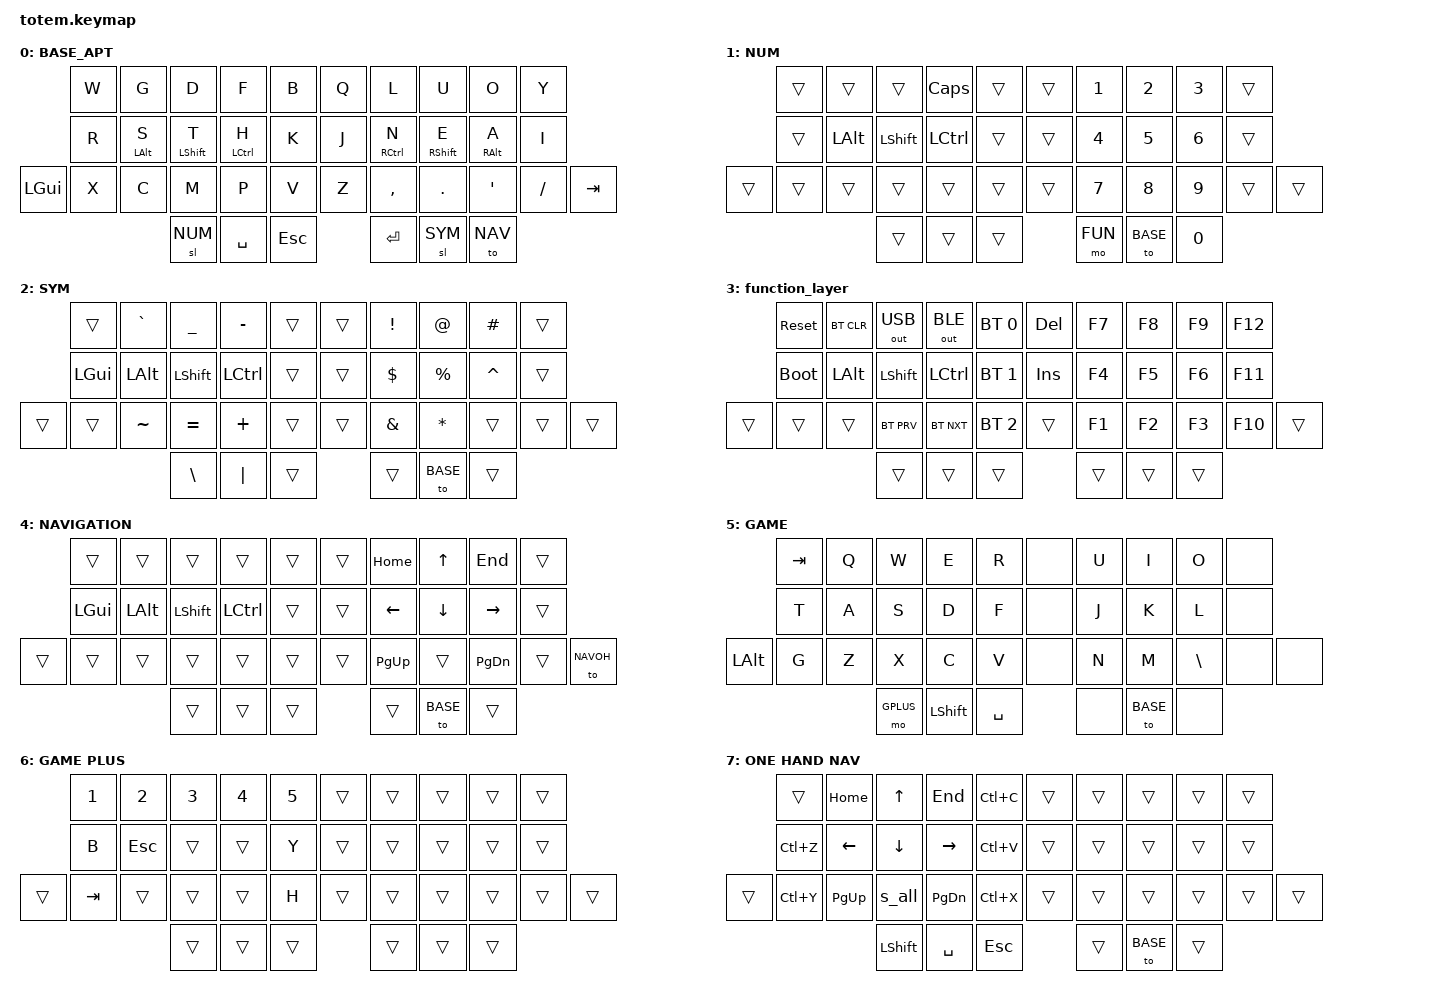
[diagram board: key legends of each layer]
//
//                                                        ▀▀▀▀▀     ▀▀▀▀▀          ▀▀█▀▀
//                                                        ▄▀▀▀▄  ▄  ▄▀▀▀▄  ▄  ▄▀▀▀▄  █  ▄▀▀▀▄
//                                                        █   █  █  █   █  █  █   █  █  █   █
//                                                         ▀▀▀   █   ▀▀▀   █   ▀▀▀   ▀   ▀▀▀
//                                                               █      ▄▄▄█▄▄▄    █   █  
//                                                               ▀      █  █  █     █▄█
//                                                             ▀▀▀▀▀    █  █  █      ▀
//                                                                      ▀  ▀  ▀
//
// ▄▄▄▄▄▄▄▄▄▄▄▄▄▄▄▄▄▄▄▄▄▄▄▄▄▄▄▄▄▄▄▄▄▄▄▄▄▄▄▄▄▄▄▄▄▄▄▄▄▄▄▄▄▄▄▄▄▄▄▄▄▄▄▄▄▄▄▄▄▄▄▄▄▄▄▄▄▄▄▄▄▄▄▄▄▄▄▄▄▄▄▄▄▄▄▄▄▄▄▄▄▄▄▄▄▄▄▄▄▄▄▄▄▄▄▄▄▄▄▄▄▄▄▄▄▄▄▄▄▄▄▄▄▄▄▄▄▄▄▄▄▄▄▄▄▄▄▄▄
       

#include <behaviors.dtsi>
#include <dt-bindings/zmk/keys.h>
#include <dt-bindings/zmk/bt.h>
#include <dt-bindings/zmk/outputs.h>

#define BASE 0
#define NUM  1
#define SYM  2
#define FUN  3
#define NAV 4
#define GAME 5
#define GPLUS 6
#define NAVOH 7

&mt {
  quick-tap-ms = <90>;
  global-quick-tap;
  flavor = "tap-preferred";
  tapping-term-ms = <170>;
};

/ {
     combos {
            compatible = "zmk,combos";
            combo_bspc {
                timeout-ms = <30>;
                key-positions = <27 28>;
                bindings = <&kp BSPC>;
            };
            combo_lbkt {
                timeout-ms = <30>;
                key-positions = <6 7>;
                layers = <0>;
                bindings = <&kp LBKT>;
            };
            combo_rbkt {
                timeout-ms = <30>;
                key-positions = <6 7>;
                layers = <2>;
                bindings = <&kp RBKT>;
            };
            combo_lpar {
                timeout-ms = <30>;
                key-positions = <2 3>;
                layers = <0>;
                bindings = <&kp LPAR>;
            };
            combo_rpar {
                timeout-ms = <30>;
                key-positions = <2 3>;
                layers = <2>;
                bindings = <&kp RPAR>;
            };
            combo_lbrc {
                timeout-ms = <30>;
                key-positions = <23 24>;
                layers = <0>;
                bindings = <&kp LBRC>;
            };
            combo_rbrc {
                timeout-ms = <30>;
                key-positions = <23 24>;
                layers = <2>;
                bindings = <&kp RBRC>;
            };
            combo_colon {
                timeout-ms = <30>;
                key-positions = <15 16>;
                layers = <0>;
                bindings = <&kp COLON>;
            };
            combo_semi {
                timeout-ms = <30>;
                key-positions = <13 14>;
                layers = <0>;
                bindings = <&kp SEMI>;
            };
            combo_game {
                timeout-ms = <30>;
                key-positions = <0 1 2 3>;
                layers = <0>;
                bindings = <&to GAME>;
            };
            combo_base {
                timeout-ms = <30>;
                key-positions = <0 1 2 3>;
                layers = <1 2 3 4 5 6 7>;
                bindings = <&to BASE>;
            };
    };

    macros {
        s_all: s_all {
            label = "select_all";
            compatible = "zmk,behavior-macro";
            #binding-cells = <0>;
            bindings
                = <&macro_tap &kp HOME>
                , <&macro_press &kp LSHFT>
                , <&macro_tap &kp END>
                , <&macro_release &kp LSHFT>
                ;
        };
    };

        keymap {
                compatible = "zmk,keymap";
// ▄▄▄▄▄▄▄▄▄▄▄▄▄▄▄▄▄▄▄▄▄▄▄▄▄▄▄▄▄▄▄▄▄▄▄▄▄▄▄▄▄▄▄▄▄▄▄▄▄▄▄▄▄▄▄▄▄▄▄▄▄▄▄▄▄▄▄▄▄▄▄▄▄▄▄▄▄▄▄▄▄▄▄▄▄▄▄▄▄▄▄▄▄▄▄▄▄▄▄▄▄▄▄▄▄▄▄▄▄▄▄▄▄▄▄▄▄▄▄▄▄▄▄▄▄▄▄▄▄▄▄▄▄▄▄▄▄▄▄▄▄▄▄▄▄▄▄▄▄

                base_layer {
// ┏━━━━━━━━━━━━━━━━━━━━━━━━━━━━━━━━━━━━━━━┓
label= "BASE_APT"                          ;
// ┗━━━━━━━━━━━━━━━━━━━━━━━━━━━━━━━━━━━━━━━┛
//             ┏━━━━━━━━━━━┳━━━━━━━━━━━┳━━━━━━━━━━━┳━━━━━━━━━━━┳━━━━━━━━━━━┓   ┏━━━━━━━━━━━┳━━━━━━━━━━━┳━━━━━━━━━━━┳━━━━━━━━━━━┳━━━━━━━━━━━┓
//             ┃     Q     ┃     W     ┃     F     ┃     P     ┃     G     ┃   ┃     J     ┃     L     ┃     U     ┃     Y     ┃     ;     ┃
//             ┣━━━━━━━━━━━╋━━━━━━━━━━━╋━━━━━━━━━━━╋━━━━━━━━━━━╋━━━━━━━━━━━┫   ┣━━━━━━━━━━━╋━━━━━━━━━━━╋━━━━━━━━━━━╋━━━━━━━━━━━╋━━━━━━━━━━━┫
//             ┃     A     ┃     R     ┃     S     ┃     T     ┃     D     ┃   ┃     H     ┃     N     ┃     E     ┃     I     ┃     O     ┃
// ┏━━━━━━━━━━━╋━━━━━━━━━━━╋━━━━━━━━━━━╋━━━━━━━━━━━╋━━━━━━━━━━━╋━━━━━━━━━━━┫   ┣━━━━━━━━━━━╋━━━━━━━━━━━╋━━━━━━━━━━━╋━━━━━━━━━━━╋━━━━━━━━━━━╋━━━━━━━━━━━┓
// ┃     Q     ┃     Z     ┃     X     ┃     C     ┃     V     ┃     B     ┃   ┃     K     ┃     M     ┃     ,     ┃     .     ┃     /     ┃     \     ┃
// ┗━━━━━━━━━━━┻━━━━━━━━━━━┻━━━━━━━━━━━╋━━━━━━━━━━━╋━━━━━━━━━━━╋━━━━━━━━━━━┫   ┣━━━━━━━━━━━╋━━━━━━━━━━━╋━━━━━━━━━━━╋━━━━━━━━━━━┻━━━━━━━━━━━┻━━━━━━━━━━━┛
//                                     ┃    DEL    ┃    TAB    ┃    SPC    ┃   ┃   ENTER   ┃           ┃   BSPC    ┃
//                                     ┗━━━━━━━━━━━┻━━━━━━━━━━━┻━━━━━━━━━━━┛   ┗━━━━━━━━━━━┻━━━━━━━━━━━┻━━━━━━━━━━━┛
 bindings = <
// ╷           ╷           ╷           ╷           ╷           ╷           ╷   ╷           ╷           ╷           ╷           ╷           ╷           ╷

                &kp W       &kp G       &kp D       &kp F       &kp B           &kp Q     &kp L         &kp U       &kp O       &kp Y
                &kp R       &mt LALT S  &mt LSHFT T &mt LCTRL H &kp K           &kp J     &mt RCTRL N   &mt RSHFT E &mt RALT A  &kp I
    &kp LGUI    &kp X       &kp C       &kp M       &kp P       &kp V           &kp Z     &kp COMMA     &kp DOT     &kp SQT     &kp FSLH     &kp TAB
                                        &sl NUM     &kp SPACE   &kp ESC               &kp RET   &sl SYM       &to NAV
                        >;
                };

// ▄▄▄▄▄▄▄▄▄▄▄▄▄▄▄▄▄▄▄▄▄▄▄▄▄▄▄▄▄▄▄▄▄▄▄▄▄▄▄▄▄▄▄▄▄▄▄▄▄▄▄▄▄▄▄▄▄▄▄▄▄▄▄▄▄▄▄▄▄▄▄▄▄▄▄▄▄▄▄▄▄▄▄▄▄▄▄▄▄▄▄▄▄▄▄▄▄▄▄▄▄▄▄▄▄▄▄▄▄▄▄▄▄▄▄▄▄▄▄▄▄▄▄▄▄▄▄▄▄▄▄▄▄▄▄▄▄▄▄▄▄▄▄▄▄▄▄▄▄


                num_layer {
// ┏━━━━━━━━━━━━━━━━━━━━━━━━━━━━━━━━━━━━━━━┓
label= "NUM"                               ;
// ┗━━━━━━━━━━━━━━━━━━━━━━━━━━━━━━━━━━━━━━━┛
//             ┏━━━━━━━━━━━┳━━━━━━━━━━━┳━━━━━━━━━━━┳━━━━━━━━━━━┳━━━━━━━━━━━┓   ┏━━━━━━━━━━━┳━━━━━━━━━━━┳━━━━━━━━━━━┳━━━━━━━━━━━┳━━━━━━━━━━━┓
//             ┃           ┃           ┃     UP    ┃           ┃     {     ┃   ┃     }     ┃     7     ┃     8     ┃     9     ┃     +     ┃
//             ┣━━━━━━━━━━━╋━━━━━━━━━━━╋━━━━━━━━━━━╋━━━━━━━━━━━╋━━━━━━━━━━━┫   ┣━━━━━━━━━━━╋━━━━━━━━━━━╋━━━━━━━━━━━╋━━━━━━━━━━━╋━━━━━━━━━━━┫
//             ┃   SHIFT   ┃   LEFT    ┃    DOWN   ┃   RIGHT   ┃     [     ┃   ┃     ]     ┃     4     ┃     5     ┃     6     ┃     -     ┃
// ┏━━━━━━━━━━━╋━━━━━━━━━━━╋━━━━━━━━━━━╋━━━━━━━━━━━╋━━━━━━━━━━━╋━━━━━━━━━━━┫   ┣━━━━━━━━━━━╋━━━━━━━━━━━╋━━━━━━━━━━━╋━━━━━━━━━━━╋━━━━━━━━━━━╋━━━━━━━━━━━┓
// ┃           ┃           ┃   P UP    ┃  C LOCK   ┃  P DOWN   ┃     (     ┃   ┃     )     ┃     1     ┃     2     ┃     3     ┃     *     ┃           ┃
// ┗━━━━━━━━━━━┻━━━━━━━━━━━┻━━━━━━━━━━━╋━━━━━━━━━━━╋━━━━━━━━━━━╋━━━━━━━━━━━┫   ┣━━━━━━━━━━━╋━━━━━━━━━━━╋━━━━━━━━━━━╋━━━━━━━━━━━┻━━━━━━━━━━━┻━━━━━━━━━━━┛
//                                     ┃           ┃    TAB    ┃    SPC    ┃   ┃    DEL    ┃     0     ┃           ┃
//                                     ┗━━━━━━━━━━━┻━━━━━━━━━━━┻━━━━━━━━━━━┛   ┗━━━━━━━━━━━┻━━━━━━━━━━━┻━━━━━━━━━━━┛
 bindings = <
// ╷           ╷           ╷           ╷           ╷           ╷           ╷   ╷           ╷           ╷           ╷           ╷           ╷           ╷

                &trans      &trans      &trans      &kp CAPS    &trans          &trans     &kp N1      &kp N2      &kp N3   &trans
                &trans      &kp LALT    &kp LSHFT   &kp LCTRL   &trans          &trans     &kp N4      &kp N5      &kp N6   &trans
    &trans      &trans      &trans      &trans      &trans      &trans          &trans     &kp N7      &kp N8      &kp N9   &trans       &trans      
                                        &trans      &trans      &trans          &mo FUN    &to BASE    &kp N0      
                        >;
                };

// ▄▄▄▄▄▄▄▄▄▄▄▄▄▄▄▄▄▄▄▄▄▄▄▄▄▄▄▄▄▄▄▄▄▄▄▄▄▄▄▄▄▄▄▄▄▄▄▄▄▄▄▄▄▄▄▄▄▄▄▄▄▄▄▄▄▄▄▄▄▄▄▄▄▄▄▄▄▄▄▄▄▄▄▄▄▄▄▄▄▄▄▄▄▄▄▄▄▄▄▄▄▄▄▄▄▄▄▄▄▄▄▄▄▄▄▄▄▄▄▄▄▄▄▄▄▄▄▄▄▄▄▄▄▄▄▄▄▄▄▄▄▄▄▄▄▄▄▄▄


                sym_layer {
// ┏━━━━━━━━━━━━━━━━━━━━━━━━━━━━━━━━━━━━━━━┓
label= "SYM"                               ;
// ┗━━━━━━━━━━━━━━━━━━━━━━━━━━━━━━━━━━━━━━━┛
//             ┏━━━━━━━━━━━┳━━━━━━━━━━━┳━━━━━━━━━━━┳━━━━━━━━━━━┳━━━━━━━━━━━┓   ┏━━━━━━━━━━━┳━━━━━━━━━━━┳━━━━━━━━━━━┳━━━━━━━━━━━┳━━━━━━━━━━━┓
//             ┃     !     ┃     @     ┃     #     ┃     $     ┃     %     ┃   ┃     ˆ     ┃     &     ┃     Ü     ┃     '     ┃     "     ┃
//             ┣━━━━━━━━━━━╋━━━━━━━━━━━╋━━━━━━━━━━━╋━━━━━━━━━━━╋━━━━━━━━━━━┫   ┣━━━━━━━━━━━╋━━━━━━━━━━━╋━━━━━━━━━━━╋━━━━━━━━━━━╋━━━━━━━━━━━┫
//             ┃     Ä     ┃           ┃    SZ     ┃           ┃           ┃   ┃   MUTE    ┃   YEN     ┃   EURO    ┃  POUND    ┃     Ö     ┃
// ┏━━━━━━━━━━━╋━━━━━━━━━━━╋━━━━━━━━━━━╋━━━━━━━━━━━╋━━━━━━━━━━━╋━━━━━━━━━━━┫   ┣━━━━━━━━━━━╋━━━━━━━━━━━╋━━━━━━━━━━━╋━━━━━━━━━━━╋━━━━━━━━━━━╋━━━━━━━━━━━┓
// ┃           ┃  EMAIL1   ┃  EMAIL2   ┃           ┃           ┃           ┃   ┃   VOL-    ┃   VOL+    ┃   LAST    ┃   NEXT    ┃     \     ┃           ┃
// ┗━━━━━━━━━━━┻━━━━━━━━━━━┻━━━━━━━━━━━╋━━━━━━━━━━━╋━━━━━━━━━━━╋━━━━━━━━━━━┫   ┣━━━━━━━━━━━╋━━━━━━━━━━━╋━━━━━━━━━━━╋━━━━━━━━━━━┻━━━━━━━━━━━┻━━━━━━━━━━━┛
//                                     ┃           ┃    GIF    ┃    ADJ    ┃   ┃           ┃           ┃           ┃
//                                     ┗━━━━━━━━━━━┻━━━━━━━━━━━┻━━━━━━━━━━━┛   ┗━━━━━━━━━━━┻━━━━━━━━━━━┻━━━━━━━━━━━┛
 bindings = <
// ╷           ╷           ╷           ╷           ╷           ╷           ╷   ╷           ╷           ╷           ╷           ╷           ╷           ╷

                &trans   &kp GRAVE    &kp UNDER    &kp MINUS    &trans        &trans &kp EXCL    &kp AT    &kp HASH    &trans       
                &kp LGUI &kp LALT     &kp LSHFT    &kp LCTRL    &trans          &trans    &kp DLLR    &kp PRCNT &kp CARET   &trans 
    &trans      &trans   &kp TILDE    &kp EQUAL    &kp PLUS    &trans           &trans    &kp AMPS    &kp STAR  &trans      &trans   &trans         
                                      &kp BSLH     &kp PIPE     &trans          &trans    &to BASE    &trans      
                        >;
                };

// ▄▄▄▄▄▄▄▄▄▄▄▄▄▄▄▄▄▄▄▄▄▄▄▄▄▄▄▄▄▄▄▄▄▄▄▄▄▄▄▄▄▄▄▄▄▄▄▄▄▄▄▄▄▄▄▄▄▄▄▄▄▄▄▄▄▄▄▄▄▄▄▄▄▄▄▄▄▄▄▄▄▄▄▄▄▄▄▄▄▄▄▄▄▄▄▄▄▄▄▄▄▄▄▄▄▄▄▄▄▄▄▄▄▄▄▄▄▄▄▄▄▄▄▄▄▄▄▄▄▄▄▄▄▄▄▄▄▄▄▄▄▄▄▄▄▄▄▄▄


                function_layer {
// ┏━━━━━━━━━━━━━━━━━━━━━━━━━━━━━━━━━━━━━━━┓

//             ┏━━━━━━━━━━━┳━━━━━━━━━━━┳━━━━━━━━━━━┳━━━━━━━━━━━┳━━━━━━━━━━━┓   ┏━━━━━━━━━━━┳━━━━━━━━━━━┳━━━━━━━━━━━┳━━━━━━━━━━━┳━━━━━━━━━━━┓
//             ┃   RESET   ┃ BT CLEAR  ┃  OUT TOG  ┃           ┃           ┃   ┃           ┃    F7     ┃    F8     ┃    F9     ┃    F12    ┃
//             ┣━━━━━━━━━━━╋━━━━━━━━━━━╋━━━━━━━━━━━╋━━━━━━━━━━━╋━━━━━━━━━━━┫   ┣━━━━━━━━━━━╋━━━━━━━━━━━╋━━━━━━━━━━━╋━━━━━━━━━━━╋━━━━━━━━━━━┫
//             ┃ BOOTLOAD  ┃ BT NEXT   ┃           ┃           ┃           ┃   ┃           ┃    F4     ┃    F5     ┃    F6     ┃    F11    ┃
// ┏━━━━━━━━━━━╋━━━━━━━━━━━╋━━━━━━━━━━━╋━━━━━━━━━━━╋━━━━━━━━━━━╋━━━━━━━━━━━┫   ┣━━━━━━━━━━━╋━━━━━━━━━━━╋━━━━━━━━━━━╋━━━━━━━━━━━╋━━━━━━━━━━━╋━━━━━━━━━━━┓
// ┃           ┃           ┃ BT PREV   ┃           ┃           ┃           ┃   ┃           ┃    F1     ┃    F2     ┃    F3     ┃    F10    ┃           ┃
// ┗━━━━━━━━━━━┻━━━━━━━━━━━┻━━━━━━━━━━━╋━━━━━━━━━━━╋━━━━━━━━━━━╋━━━━━━━━━━━┫   ┣━━━━━━━━━━━╋━━━━━━━━━━━╋━━━━━━━━━━━╋━━━━━━━━━━━┻━━━━━━━━━━━┻━━━━━━━━━━━┛
//                                     ┃           ┃           ┃           ┃   ┃           ┃           ┃           ┃
//                                     ┗━━━━━━━━━━━┻━━━━━━━━━━━┻━━━━━━━━━━━┛   ┗━━━━━━━━━━━┻━━━━━━━━━━━┻━━━━━━━━━━━┛
 bindings = <
// ╷           ╷           ╷           ╷           ╷           ╷           ╷   ╷           ╷           ╷           ╷           ╷           ╷           ╷

                &sys_reset  &bt BT_CLR  &out OUT_USB &out OUT_BLE &bt BT_SEL 0         &kp DEL     &kp F7      &kp F8      &kp F9      &kp F12
                &bootloader &kp LALT    &kp LSHFT    &kp LCTRL   &bt BT_SEL 1          &kp INS     &kp F4      &kp F5      &kp F6      &kp F11  
    &trans      &trans      &trans      &bt BT_PRV   &bt BT_NXT  &bt BT_SEL 2          &trans      &kp F1      &kp F2      &kp F3      &kp F10     &trans         
                                        &trans      &trans      &trans                 &trans      &trans      &trans      
                        >;
                };

// ▄▄▄▄▄▄▄▄▄▄▄▄▄▄▄▄▄▄▄▄▄▄▄▄▄▄▄▄▄▄▄▄▄▄▄▄▄▄▄▄▄▄▄▄▄▄▄▄▄▄▄▄▄▄▄▄▄▄▄▄▄▄▄▄▄▄▄▄▄▄▄▄▄▄▄▄▄▄▄▄▄▄▄▄▄▄▄▄▄▄▄▄▄▄▄▄▄▄▄▄▄▄▄▄▄▄▄▄▄▄▄▄▄▄▄▄▄▄▄▄▄▄▄▄▄▄▄▄▄▄▄▄▄▄▄▄▄▄▄▄▄▄▄▄▄▄▄▄▄


                nav_layer {
// ┏━━━━━━━━━━━━━━━━━━━━━━━━━━━━━━━━━━━━━━━┓
label= "NAVIGATION"                        ;
// ┗━━━━━━━━━━━━━━━━━━━━━━━━━━━━━━━━━━━━━━━┛
//             ┏━━━━━━━━━━━┳━━━━━━━━━━━┳━━━━━━━━━━━┳━━━━━━━━━━━┳━━━━━━━━━━━┓   ┏━━━━━━━━━━━┳━━━━━━━━━━━┳━━━━━━━━━━━┳━━━━━━━━━━━┳━━━━━━━━━━━┓
//             ┃ NEXT FILE ┃ MARK IN   ┃ ROTATE    ┃ MARK OUT  ┃ SHOW SNAP ┃   ┃           ┃           ┃           ┃           ┃           ┃
//             ┣━━━━━━━━━━━╋━━━━━━━━━━━╋━━━━━━━━━━━╋━━━━━━━━━━━╋━━━━━━━━━━━┫   ┣━━━━━━━━━━━╋━━━━━━━━━━━╋━━━━━━━━━━━╋━━━━━━━━━━━╋━━━━━━━━━━━┫
//             ┃ TVP II    ┃ LEFT      ┃ PAN       ┃ RIGHT     ┃ PLAY/FLIP ┃   ┃           ┃           ┃           ┃           ┃           ┃
// ┏━━━━━━━━━━━╋━━━━━━━━━━━╋━━━━━━━━━━━╋━━━━━━━━━━━╋━━━━━━━━━━━╋━━━━━━━━━━━┫   ┣━━━━━━━━━━━╋━━━━━━━━━━━╋━━━━━━━━━━━╋━━━━━━━━━━━╋━━━━━━━━━━━╋━━━━━━━━━━━┓
// ┃ FULLSCR   ┃ SHIFT     ┃ COPY      ┃ DELETE    ┃ PASTE     ┃ IMG MARK  ┃   ┃           ┃           ┃           ┃           ┃           ┃           ┃
// ┗━━━━━━━━━━━┻━━━━━━━━━━━┻━━━━━━━━━━━╋━━━━━━━━━━━╋━━━━━━━━━━━╋━━━━━━━━━━━┫   ┣━━━━━━━━━━━╋━━━━━━━━━━━╋━━━━━━━━━━━╋━━━━━━━━━━━┻━━━━━━━━━━━┻━━━━━━━━━━━┛
//                                     ┃           ┃ UNDO/SAVE ┃  SEL/MOV  ┃   ┃           ┃           ┃           ┃
//                                     ┗━━━━━━━━━━━┻━━━━━━━━━━━┻━━━━━━━━━━━┛   ┗━━━━━━━━━━━┻━━━━━━━━━━━┻━━━━━━━━━━━┛
 bindings = <
// ╷           ╷           ╷           ╷           ╷           ╷           ╷   ╷           ╷           ╷           ╷           ╷           ╷           ╷

                &trans      &trans      &trans      &trans      &trans          &trans     &kp HOME    &kp UP      &kp END      &trans
                &kp LGUI    &kp LALT    &kp LSHFT   &kp LCTRL   &trans          &trans     &kp LEFT    &kp DOWN    &kp RIGHT    &trans
    &trans      &trans      &trans      &trans      &trans      &trans          &trans     &kp PG_UP   &trans      &kp PG_DN     &trans       &to NAVOH
                                        &trans      &trans      &trans          &trans     &to BASE    &trans   
                        >;
                };

// ▄▄▄▄▄▄▄▄▄▄▄▄▄▄▄▄▄▄▄▄▄▄▄▄▄▄▄▄▄▄▄▄▄▄▄▄▄▄▄▄▄▄▄▄▄▄▄▄▄▄▄▄▄▄▄▄▄▄▄▄▄▄▄▄▄▄▄▄▄▄▄▄▄▄▄▄▄▄▄▄▄▄▄▄▄▄▄▄▄▄▄▄▄▄▄▄▄▄▄▄▄▄▄▄▄▄▄▄▄▄▄▄▄▄▄▄▄▄▄▄▄▄▄▄▄▄▄▄▄▄▄▄▄▄▄▄▄▄▄▄▄▄▄▄▄▄▄▄▄


                game_layer {
// ┏━━━━━━━━━━━━━━━━━━━━━━━━━━━━━━━━━━━━━━━┓
label= "GAME"                              ;
// ┗━━━━━━━━━━━━━━━━━━━━━━━━━━━━━━━━━━━━━━━┛
//             ┏━━━━━━━━━━━┳━━━━━━━━━━━┳━━━━━━━━━━━┳━━━━━━━━━━━┳━━━━━━━━━━━┓   ┏━━━━━━━━━━━┳━━━━━━━━━━━┳━━━━━━━━━━━┳━━━━━━━━━━━┳━━━━━━━━━━━┓
//             ┃ SOLO      ┃ TOGGLE IN ┃ RESET ROT ┃ TOGGLE OUT┃ TAKE SNAP ┃   ┃           ┃           ┃           ┃           ┃           ┃
//             ┣━━━━━━━━━━━╋━━━━━━━━━━━╋━━━━━━━━━━━╋━━━━━━━━━━━╋━━━━━━━━━━━┫   ┣━━━━━━━━━━━╋━━━━━━━━━━━╋━━━━━━━━━━━╋━━━━━━━━━━━╋━━━━━━━━━━━┫
//             ┃ ---       ┃ LAST KEY  ┃ NEW KEY   ┃ NEXT KEY  ┃ ENTER     ┃   ┃           ┃           ┃           ┃           ┃           ┃
// ┏━━━━━━━━━━━╋━━━━━━━━━━━╋━━━━━━━━━━━╋━━━━━━━━━━━╋━━━━━━━━━━━╋━━━━━━━━━━━┫   ┣━━━━━━━━━━━╋━━━━━━━━━━━╋━━━━━━━━━━━╋━━━━━━━━━━━╋━━━━━━━━━━━╋━━━━━━━━━━━┓
// ┃           ┃ FULLSCR   ┃ CPY2BRUSH ┃ DEL HEAD  ┃ PSTinPLACE┃ BOOK MARK ┃   ┃           ┃           ┃           ┃           ┃           ┃           ┃
// ┗━━━━━━━━━━━┻━━━━━━━━━━━┻━━━━━━━━━━━╋━━━━━━━━━━━╋━━━━━━━━━━━╋━━━━━━━━━━━┫   ┣━━━━━━━━━━━╋━━━━━━━━━━━╋━━━━━━━━━━━╋━━━━━━━━━━━┻━━━━━━━━━━━┻━━━━━━━━━━━┛
//                                     ┃           ┃ REDO/SAV1 ┃TRANS/WARP ┃   ┃           ┃           ┃           ┃
//                                     ┗━━━━━━━━━━━┻━━━━━━━━━━━┻━━━━━━━━━━━┛   ┗━━━━━━━━━━━┻━━━━━━━━━━━┻━━━━━━━━━━━┛
 bindings = <
// ╷           ╷           ╷           ╷           ╷           ╷           ╷   ╷           ╷           ╷           ╷           ╷           ╷           ╷

                &kp TAB    &kp Q      &kp W       &kp E       &kp R            &none      &kp U        &kp I       &kp O       &none
                &kp T      &kp A      &kp S       &kp D       &kp F            &none      &kp J        &kp K       &kp L       &none
    &kp LALT    &kp G      &kp Z      &kp X       &kp C       &kp V            &none      &kp N        &kp M       &kp BSLH    &none        &none         
                                      &mo GPLUS   &kp LSHFT   &kp SPACE        &none      &to BASE    &none      
                        >;
                };

                game_plus_layer {
// ┏━━━━━━━━━━━━━━━━━━━━━━━━━━━━━━━━━━━━━━━┓
label= "GAME PLUS"                             ;
// ┗━━━━━━━━━━━━━━━━━━━━━━━━━━━━━━━━━━━━━━━┛
//             ┏━━━━━━━━━━━┳━━━━━━━━━━━┳━━━━━━━━━━━┳━━━━━━━━━━━┳━━━━━━━━━━━┓   ┏━━━━━━━━━━━┳━━━━━━━━━━━┳━━━━━━━━━━━┳━━━━━━━━━━━┳━━━━━━━━━━━┓
//             ┃ SOLO      ┃ TOGGLE IN ┃ RESET ROT ┃ TOGGLE OUT┃ TAKE SNAP ┃   ┃           ┃           ┃           ┃           ┃           ┃
//             ┣━━━━━━━━━━━╋━━━━━━━━━━━╋━━━━━━━━━━━╋━━━━━━━━━━━╋━━━━━━━━━━━┫   ┣━━━━━━━━━━━╋━━━━━━━━━━━╋━━━━━━━━━━━╋━━━━━━━━━━━╋━━━━━━━━━━━┫
//             ┃ ---       ┃ LAST KEY  ┃ NEW KEY   ┃ NEXT KEY  ┃ ENTER     ┃   ┃           ┃           ┃           ┃           ┃           ┃
// ┏━━━━━━━━━━━╋━━━━━━━━━━━╋━━━━━━━━━━━╋━━━━━━━━━━━╋━━━━━━━━━━━╋━━━━━━━━━━━┫   ┣━━━━━━━━━━━╋━━━━━━━━━━━╋━━━━━━━━━━━╋━━━━━━━━━━━╋━━━━━━━━━━━╋━━━━━━━━━━━┓
// ┃           ┃ FULLSCR   ┃ CPY2BRUSH ┃ DEL HEAD  ┃ PSTinPLACE┃ BOOK MARK ┃   ┃           ┃           ┃           ┃           ┃           ┃           ┃
// ┗━━━━━━━━━━━┻━━━━━━━━━━━┻━━━━━━━━━━━╋━━━━━━━━━━━╋━━━━━━━━━━━╋━━━━━━━━━━━┫   ┣━━━━━━━━━━━╋━━━━━━━━━━━╋━━━━━━━━━━━╋━━━━━━━━━━━┻━━━━━━━━━━━┻━━━━━━━━━━━┛
//                                     ┃           ┃ REDO/SAV1 ┃TRANS/WARP ┃   ┃           ┃           ┃           ┃
//                                     ┗━━━━━━━━━━━┻━━━━━━━━━━━┻━━━━━━━━━━━┛   ┗━━━━━━━━━━━┻━━━━━━━━━━━┻━━━━━━━━━━━┛
 bindings = <
// ╷           ╷           ╷           ╷           ╷           ╷           ╷   ╷           ╷           ╷           ╷           ╷           ╷           ╷

                &kp N1      &kp N2   &kp N3   &kp N4    &kp N5          &trans      &trans      &trans        &trans      &trans
                &kp B       &kp ESC  &trans   &trans    &kp Y          &trans      &trans      &trans        &trans       &trans
    &trans      &kp TAB     &trans   &trans   &trans    &kp H          &trans      &trans      &trans        &trans       &trans        &trans         
                               &trans      &trans       &trans          &trans      &trans      &trans      
                        >;
                };

                one_hand_navigation_layer {
// ┏━━━━━━━━━━━━━━━━━━━━━━━━━━━━━━━━━━━━━━━┓
label= "ONE HAND NAV"                      ;
// ┗━━━━━━━━━━━━━━━━━━━━━━━━━━━━━━━━━━━━━━━┛
//             ┏━━━━━━━━━━━┳━━━━━━━━━━━┳━━━━━━━━━━━┳━━━━━━━━━━━┳━━━━━━━━━━━┓   ┏━━━━━━━━━━━┳━━━━━━━━━━━┳━━━━━━━━━━━┳━━━━━━━━━━━┳━━━━━━━━━━━┓
//             ┃ SOLO      ┃ TOGGLE IN ┃ RESET ROT ┃ TOGGLE OUT┃ TAKE SNAP ┃   ┃           ┃           ┃           ┃           ┃           ┃
//             ┣━━━━━━━━━━━╋━━━━━━━━━━━╋━━━━━━━━━━━╋━━━━━━━━━━━╋━━━━━━━━━━━┫   ┣━━━━━━━━━━━╋━━━━━━━━━━━╋━━━━━━━━━━━╋━━━━━━━━━━━╋━━━━━━━━━━━┫
//             ┃ ---       ┃ LAST KEY  ┃ NEW KEY   ┃ NEXT KEY  ┃ ENTER     ┃   ┃           ┃           ┃           ┃           ┃           ┃
// ┏━━━━━━━━━━━╋━━━━━━━━━━━╋━━━━━━━━━━━╋━━━━━━━━━━━╋━━━━━━━━━━━╋━━━━━━━━━━━┫   ┣━━━━━━━━━━━╋━━━━━━━━━━━╋━━━━━━━━━━━╋━━━━━━━━━━━╋━━━━━━━━━━━╋━━━━━━━━━━━┓
// ┃           ┃ FULLSCR   ┃ CPY2BRUSH ┃ DEL HEAD  ┃ PSTinPLACE┃ BOOK MARK ┃   ┃           ┃           ┃           ┃           ┃           ┃           ┃
// ┗━━━━━━━━━━━┻━━━━━━━━━━━┻━━━━━━━━━━━╋━━━━━━━━━━━╋━━━━━━━━━━━╋━━━━━━━━━━━┫   ┣━━━━━━━━━━━╋━━━━━━━━━━━╋━━━━━━━━━━━╋━━━━━━━━━━━┻━━━━━━━━━━━┻━━━━━━━━━━━┛
//                                     ┃           ┃ REDO/SAV1 ┃TRANS/WARP ┃   ┃           ┃           ┃           ┃
//                                     ┗━━━━━━━━━━━┻━━━━━━━━━━━┻━━━━━━━━━━━┛   ┗━━━━━━━━━━━┻━━━━━━━━━━━┻━━━━━━━━━━━┛
 bindings = <
// ╷           ╷           ╷           ╷           ╷           ╷           ╷   ╷           ╷           ╷           ╷           ╷           ╷           ╷

                &trans      &kp HOME   &kp UP       &kp END     &kp LC(C)       &trans      &trans      &trans      &trans      &trans
                &kp LC(Z)   &kp LEFT   &kp DOWN     &kp RIGHT   &kp LC(V)       &trans      &trans      &trans      &trans      &trans
    &trans      &kp LC(Y)   &kp PG_UP  &s_all       &kp PG_DN   &kp LC(X)       &trans      &trans      &trans      &trans      &trans     &trans
                                       &kp LSHFT    &kp SPACE   &kp ESC         &trans      &to BASE    &trans 
                        >;
                };
        };
};
